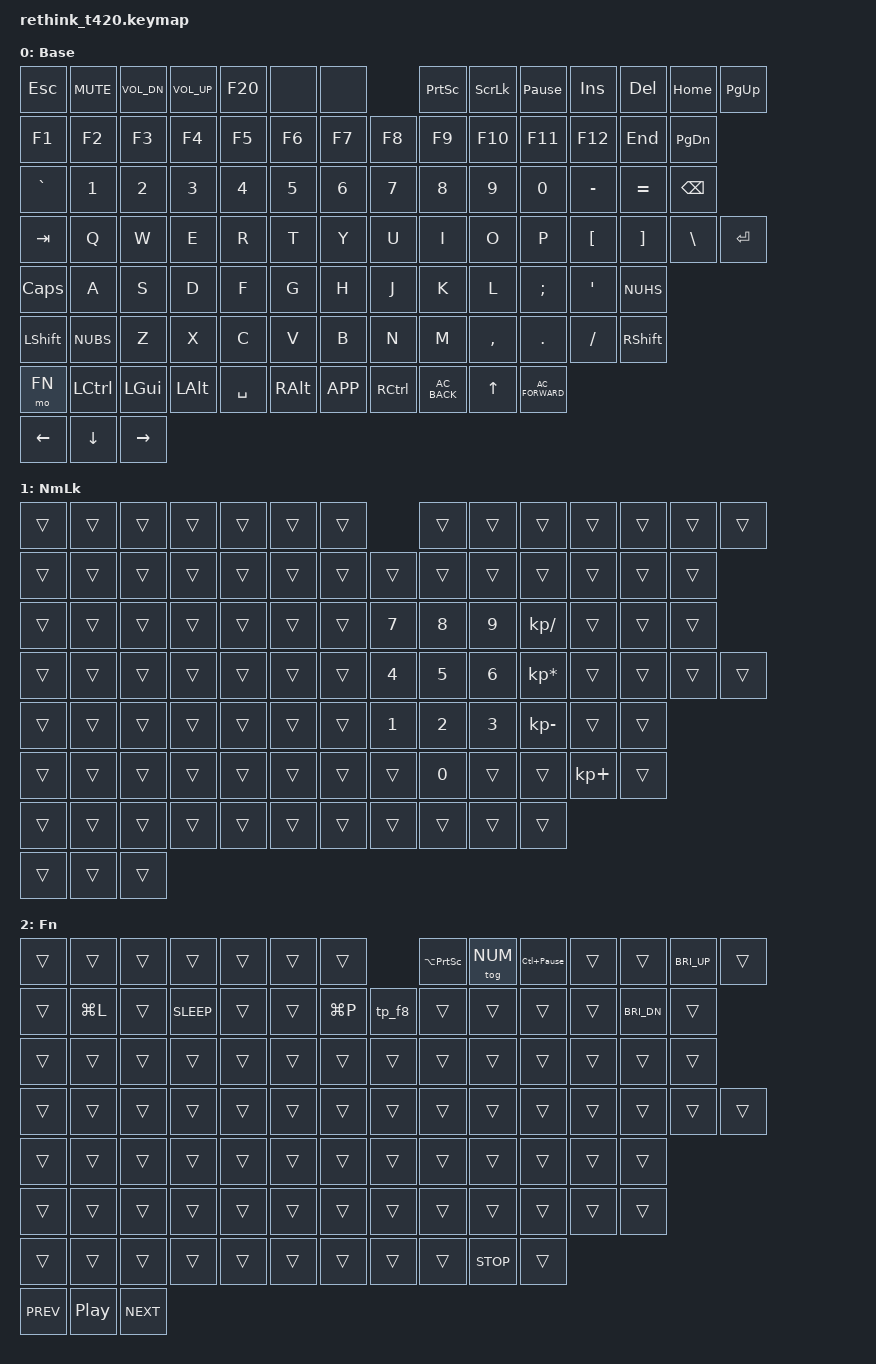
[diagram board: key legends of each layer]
/*
 * Copyright (c) 2026 Ziemniaczenka
 * SPDX-License-Identifier: MIT
 *
 * ThinkPad T420, ISO or ANSI. Each key sends the standard key code of its
 * position; the host's layout (Norwegian, UK, US, ...) gives the legends. The
 * comments name the keys by their UK ISO legends: ` left of 1, # left of
 * Enter (NUHS), \ right of LShift (NUBS); "\ ANSI" is the ANSI keyboard's
 * \ above Enter (BSLH). The ISO keyboard lacks \ ANSI, the ANSI one # and
 * \ right of LShift.
 *
 * Above the keyboard: mute, volume down/up, mic mute (F20, which Linux treats
 * as mic mute), ThinkVantage and power. ThinkVantage and power send nothing.
 * The keys left and right of Up are browser back and forward.
 *
 * Fn is the bottom-left key, as on the ThinkPad, and does what the keycaps
 * show where a standard key code exists: SysRq, Num Lock, Break, lock
 * (Win+L), sleep, display (Win+P), brightness on Home/End, media on the
 * arrows. Battery, wireless, camera, hibernate, ThinkLight and zoom have none
 * and are left out.
 *
 * Fn+F8 (pointing device) switches the TrackPoint on and off; Ctrl+Fn+F8
 * recalibrates it, with the hands off the stick; Alt+Fn+F8 switches
 * press-to-select (clicking by pressing the stick) on and off; Shift+Fn+F8
 * switches scrolling with the middle button held on and off (off: a plain
 * middle button, for programs that pan with it). Both are kept in flash.
 *
 * Fn+ScrLk (NmLk) toggles the embedded keypad: the digits on 7-9, U-O, J-L
 * and M, / * - + on 0, P, ; and /. It sends digits and keypad operators,
 * which don't depend on the host's Num Lock.
 */

#include <behaviors.dtsi>
#include <dt-bindings/zmk/keys.h>
#include <dt-bindings/rethink/trackpoint.h>

#define NUM 1
#define FN 2

/ {
    behaviors {
        // Fn+F8: TrackPoint on/off; with Ctrl: recalibrate; with Alt:
        // press-to-select on/off; with Shift: middle-button scrolling on/off
        tp_f8: tp_f8 {
            compatible = "zmk,behavior-mod-morph";
            #binding-cells = <0>;
            bindings = <&tp_f8_alt>, <&tp TP_SCROLL_TOG>;
            mods = <(MOD_LSFT|MOD_RSFT)>;
        };
        tp_f8_alt: tp_f8_alt {
            compatible = "zmk,behavior-mod-morph";
            #binding-cells = <0>;
            bindings = <&tp_f8_ctrl>, <&tp TP_PTS_TOG>;
            mods = <(MOD_LALT|MOD_RALT)>;
        };
        tp_f8_ctrl: tp_f8_ctrl {
            compatible = "zmk,behavior-mod-morph";
            #binding-cells = <0>;
            bindings = <&tp TP_TOG>, <&tp TP_RECAL>;
            mods = <(MOD_LCTL|MOD_RCTL)>;
        };
        // Report rate keys exist but aren't bound: &tp TP_RATE_UP and
        // &tp TP_RATE_DN step the rate (kept in flash); "tp set rate" in the
        // shell sets it
    };

    keymap {
        compatible = "zmk,keymap";

        base_layer {
            display-name = "Base";
            bindings = <
                // Esc      Mute        VolDn         VolUp         MicMute  ThinkVantage  Power  PrtSc      ScrLk     Pause            Insert   Delete   Home      PgUp
                   &kp ESC  &kp C_MUTE  &kp C_VOL_DN  &kp C_VOL_UP  &kp F20  &none         &none  &kp PSCRN  &kp SLCK  &kp PAUSE_BREAK  &kp INS  &kp DEL  &kp HOME  &kp PG_UP
                // F1      F2      F3      F4      F5      F6      F7      F8      F9      F10      F11      F12      End      PgDn
                   &kp F1  &kp F2  &kp F3  &kp F4  &kp F5  &kp F6  &kp F7  &kp F8  &kp F9  &kp F10  &kp F11  &kp F12  &kp END  &kp PG_DN
                // `          1       2       3       4       5       6       7       8       9       0       -          =          Bksp
                   &kp GRAVE  &kp N1  &kp N2  &kp N3  &kp N4  &kp N5  &kp N6  &kp N7  &kp N8  &kp N9  &kp N0  &kp MINUS  &kp EQUAL  &kp BSPC
                // Tab      Q      W      E      R      T      Y      U      I      O      P      [         ]         \ ANSI    Enter
                   &kp TAB  &kp Q  &kp W  &kp E  &kp R  &kp T  &kp Y  &kp U  &kp I  &kp O  &kp P  &kp LBKT  &kp RBKT  &kp BSLH  &kp RET
                // Caps      A      S      D      F      G      H      J      K      L      ;         '        #
                   &kp CAPS  &kp A  &kp S  &kp D  &kp F  &kp G  &kp H  &kp J  &kp K  &kp L  &kp SEMI  &kp SQT  &kp NUHS
                // LShift     \         Z      X      C      V      B      N      M      ,          .        /         RShift
                   &kp LSHFT  &kp NUBS  &kp Z  &kp X  &kp C  &kp V  &kp B  &kp N  &kp M  &kp COMMA  &kp DOT  &kp FSLH  &kp RSHFT
                // Fn      LCtrl      Win       LAlt      Space      AltGr     Menu       RCtrl      Back           Up      Forward
                   &mo FN  &kp LCTRL  &kp LGUI  &kp LALT  &kp SPACE  &kp RALT  &kp K_APP  &kp RCTRL  &kp C_AC_BACK  &kp UP  &kp C_AC_FORWARD
                // Left      Down      Right
                   &kp LEFT  &kp DOWN  &kp RIGHT
            >;
        };

        num_layer {
            display-name = "NmLk";
            bindings = <
                // Esc     Mute    VolDn   VolUp   MicMute  ThinkVantage  Power   PrtSc   ScrLk   Pause   Insert  Delete  Home    PgUp
                   &trans  &trans  &trans  &trans  &trans   &trans        &trans  &trans  &trans  &trans  &trans  &trans  &trans  &trans
                // F1      F2      F3      F4      F5      F6      F7      F8      F9      F10     F11     F12     End     PgDn
                   &trans  &trans  &trans  &trans  &trans  &trans  &trans  &trans  &trans  &trans  &trans  &trans  &trans  &trans
                // `       1       2       3       4       5       6       7       8       9       0              -       =       Bksp
                   &trans  &trans  &trans  &trans  &trans  &trans  &trans  &kp N7  &kp N8  &kp N9  &kp KP_DIVIDE  &trans  &trans  &trans
                // Tab     Q       W       E       R       T       Y       U       I       O       P                [       ]       \ ANSI  Enter
                   &trans  &trans  &trans  &trans  &trans  &trans  &trans  &kp N4  &kp N5  &kp N6  &kp KP_MULTIPLY  &trans  &trans  &trans  &trans
                // Caps    A       S       D       F       G       H       J       K       L       ;             '       #
                   &trans  &trans  &trans  &trans  &trans  &trans  &trans  &kp N1  &kp N2  &kp N3  &kp KP_MINUS  &trans  &trans
                // LShift  \       Z       X       C       V       B       N       M       ,       .       /            RShift
                   &trans  &trans  &trans  &trans  &trans  &trans  &trans  &trans  &kp N0  &trans  &trans  &kp KP_PLUS  &trans
                // Fn      LCtrl   Win     LAlt    Space   AltGr   Menu    RCtrl   Back    Up      Forward
                   &trans  &trans  &trans  &trans  &trans  &trans  &trans  &trans  &trans  &trans  &trans
                // Left    Down    Right
                   &trans  &trans  &trans
            >;
        };

        fn_layer {
            display-name = "Fn";
            bindings = <
                // Esc     Mute    VolDn   VolUp   MicMute  ThinkVantage  Power   PrtSc          ScrLk     Pause                Insert  Delete  Home          PgUp
                   &trans  &trans  &trans  &trans  &trans   &trans        &trans  &kp LA(PSCRN)  &tog NUM  &kp LC(PAUSE_BREAK)  &trans  &trans  &kp C_BRI_UP  &trans
                // F1      F2         F3      F4           F5      F6      F7         F8      F9      F10     F11     F12     End           PgDn
                   &trans  &kp LG(L)  &trans  &kp C_SLEEP  &trans  &trans  &kp LG(P)  &tp_f8  &trans  &trans  &trans  &trans  &kp C_BRI_DN  &trans
                // `       1       2       3       4       5       6       7       8       9       0       -       =       Bksp
                   &trans  &trans  &trans  &trans  &trans  &trans  &trans  &trans  &trans  &trans  &trans  &trans  &trans  &trans
                // Tab     Q       W       E       R       T       Y       U       I       O       P       [       ]       \ ANSI  Enter
                   &trans  &trans  &trans  &trans  &trans  &trans  &trans  &trans  &trans  &trans  &trans  &trans  &trans  &trans  &trans
                // Caps    A       S       D       F       G       H       J       K       L       ;       '       #
                   &trans  &trans  &trans  &trans  &trans  &trans  &trans  &trans  &trans  &trans  &trans  &trans  &trans
                // LShift  \       Z       X       C       V       B       N       M       ,       .       /       RShift
                   &trans  &trans  &trans  &trans  &trans  &trans  &trans  &trans  &trans  &trans  &trans  &trans  &trans
                // Fn      LCtrl   Win     LAlt    Space   AltGr   Menu    RCtrl   Back    Up          Forward
                   &trans  &trans  &trans  &trans  &trans  &trans  &trans  &trans  &trans  &kp C_STOP  &trans
                // Left        Down      Right
                   &kp C_PREV  &kp C_PP  &kp C_NEXT
            >;
        };
    };
};
